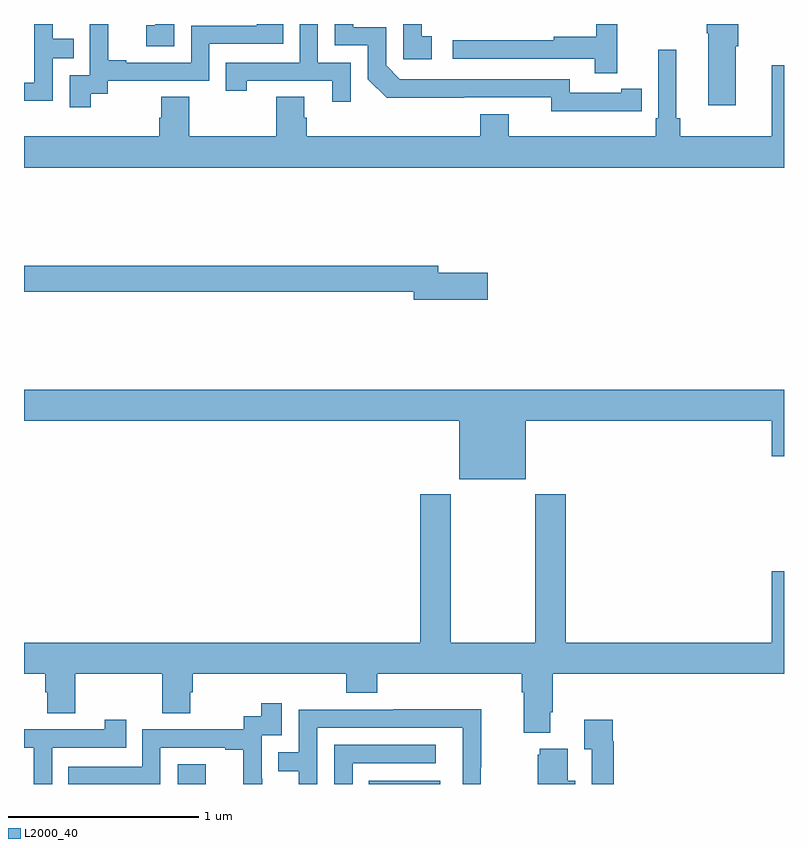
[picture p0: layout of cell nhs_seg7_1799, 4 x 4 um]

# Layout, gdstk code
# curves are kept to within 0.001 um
import gdstk
lib = gdstk.Library(unit=1e-6, precision=1e-09)
def R(c, l, rs):  # rectangles x0, y0, x1, y1
    for r in rs: c.add(gdstk.rectangle(r[:2], r[2:], *l))
def P(c, l, *ps):  # polygons
    for p in ps: c.add(gdstk.Polygon(p, *l))
L2000_40 = (2000, 40)

nhs_seg7_1799 = lib.new_cell('nhs_seg7_1799')
R(nhs_seg7_1799, L2000_40, [(233.808,1036,233.956,1036.105), (234.814,1036,235.192,1036.018)])
P(nhs_seg7_1799, L2000_40, [(236.746,1039.884),(236.759,1039.884),(236.759,1040),(236.593,1040),(236.593,1039.951),(236.6,1039.951),(236.6,1039.572),(236.746,1039.572)],
  [(236.123,1040),(236.013,1040),(236.013,1039.934),(235.789,1039.934),(235.789,1039.914),(235.257,1039.914),(235.257,1039.818),(236.005,1039.818),(236.005,1039.74),(236.123,1039.74)],
  [(234.72,1039.797),(234.546,1039.797),(234.546,1040),(234.45,1040),(234.45,1039.797),(234.061,1039.797),(234.061,1039.65),(234.172,1039.65),(234.172,1039.701),(234.623,1039.701),(234.623,1039.59),(234.72,1039.59)],
  [(233.79,1040),(233.692,1040),(233.692,1039.993),(233.643,1039.993),(233.643,1039.884),(233.79,1039.884)],
  [(233.35,1039.632),(233.442,1039.632),(233.442,1039.701),(233.976,1039.701),(233.976,1039.896),(234.365,1039.896),(234.365,1040),(234.225,1040),(234.225,1039.992),(233.88,1039.992),(233.88,1039.797),(233.539,1039.797),(233.539,1039.81),(233.444,1039.81),(233.444,1040),(233.345,1040),(233.345,1039.961),(233.346,1039.961),(233.346,1039.731),(233.241,1039.731),(233.241,1039.563),(233.35,1039.563)],
  [(236.144,1039.542),(236.252,1039.542),(236.252,1039.658),(236.144,1039.658),(236.144,1039.638),(235.872,1039.638),(235.872,1039.71),(234.978,1039.71),(234.906,1039.782),(234.906,1039.983),(234.733,1039.983),(234.733,1040),(234.636,1040),(234.636,1039.887),(234.81,1039.887),(234.81,1039.71),(234.908,1039.613),(235.776,1039.614),(235.776,1039.541)],
  [(235.147,1039.935),(235.094,1039.935),(235.094,1040),(234.996,1040),(234.996,1039.815),(235.147,1039.815)],
  [(233.151,1039.821),(233.261,1039.821),(233.261,1039.922),(233.151,1039.922),(233.151,1040),(233.055,1040),(233.055,1039.692),(233,1039.692),(233,1039.596),(233.151,1039.596)],
  [(237,1039.783),(236.936,1039.783),(236.936,1039.408),(236.453,1039.408),(236.453,1039.504),(236.434,1039.504),(236.434,1039.864),(236.337,1039.864),(236.337,1039.504),(236.324,1039.504),(236.324,1039.408),(235.552,1039.408),(235.552,1039.525),(235.4,1039.525),(235.4,1039.408),(234.488,1039.408),(234.488,1039.506),(234.475,1039.506),(234.475,1039.616),(234.328,1039.616),(234.328,1039.408),(233.871,1039.408),(233.871,1039.616),(233.723,1039.616),(233.723,1039.506),(233.711,1039.506),(233.711,1039.408),(233,1039.408),(233,1039.244),(237,1039.244)],
  [(235.441,1038.692),(235.18,1038.692),(235.18,1038.728),(233,1038.728),(233,1038.592),(235.052,1038.592),(235.052,1038.55),(235.441,1038.55)],
  [(235.642,1037.912),(236.936,1037.912),(236.936,1037.724),(237,1037.724),(237,1038.076),(233,1038.076),(233,1037.912),(235.292,1037.912),(235.292,1037.603),(235.642,1037.603)],
  [(235.771,1036.378),(235.784,1036.378),(235.784,1036.58),(237,1036.58),(237,1037.119),(236.936,1037.119),(236.936,1036.744),(235.85,1036.744),(235.85,1037.524),(235.69,1037.524),(235.69,1036.744),(235.245,1036.744),(235.245,1037.524),(235.085,1037.524),(235.085,1036.744),(233,1036.744),(233,1036.58),(233.111,1036.58),(233.111,1036.482),(233.123,1036.482),(233.123,1036.372),(233.271,1036.372),(233.271,1036.58),(233.728,1036.58),(233.728,1036.372),(233.875,1036.372),(233.875,1036.482),(233.888,1036.482),(233.888,1036.58),(234.695,1036.58),(234.695,1036.481),(234.86,1036.481),(234.86,1036.58),(235.619,1036.58),(235.619,1036.484),(235.631,1036.484),(235.631,1036.271),(235.771,1036.271)],
  [(233.718,1036.191),(234.059,1036.191),(234.059,1036.179),(234.155,1036.179),(234.155,1036),(234.254,1036),(234.254,1036.028),(234.252,1036.028),(234.252,1036.257),(234.357,1036.257),(234.357,1036.426),(234.249,1036.426),(234.249,1036.356),(234.156,1036.356),(234.156,1036.287),(233.622,1036.287),(233.622,1036.092),(233.233,1036.092),(233.233,1036),(233.718,1036)],
  [(234.543,1036.296),(235.308,1036.296),(235.308,1036),(235.404,1036),(235.404,1036.087),(235.407,1036.087),(235.407,1036.394),(234.943,1036.394),(234.943,1036.392),(234.447,1036.392),(234.447,1036.167),(234.337,1036.167),(234.337,1036.066),(234.447,1036.066),(234.447,1036),(234.543,1036)],
  [(236.105,1036.226),(236.098,1036.226),(236.098,1036.339),(235.949,1036.339),(235.949,1036.183),(235.989,1036.183),(235.989,1036),(236.105,1036)],
  [(233.148,1036.191),(233.537,1036.191),(233.537,1036.339),(233.426,1036.339),(233.426,1036.287),(233,1036.287),(233,1036.191),(233.052,1036.191),(233.052,1036),(233.148,1036)],
  [(234.729,1036.11),(235.168,1036.11),(235.168,1036.206),(234.633,1036.206),(234.633,1036),(234.729,1036)],
  [(235.9,1036.018),(235.861,1036.018),(235.861,1036.186),(235.715,1036.186),(235.715,1036.155),(235.703,1036.155),(235.703,1036),(235.9,1036)])

lib.write_gds('nhs_seg7_1799.gds')
